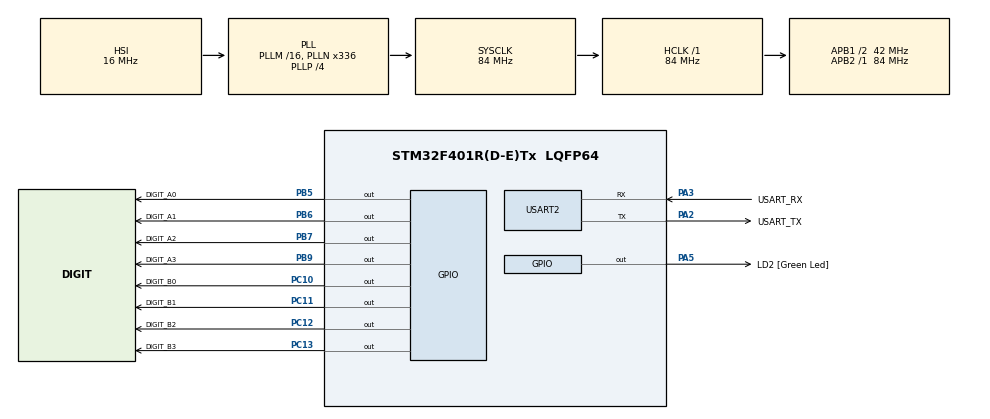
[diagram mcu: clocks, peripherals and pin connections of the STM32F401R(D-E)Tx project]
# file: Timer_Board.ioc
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Mcu.Family=STM32F4
Mcu.Name=STM32F401R(D-E)Tx
Mcu.Package=LQFP64
NVIC.PriorityGroup=NVIC_PRIORITYGROUP_0
PA13.GPIO_Label=TMS
PA13.Mode=Serial_Wire
PA13.Signal=SYS_JTMS-SWDIO
PA14.GPIO_Label=TCK
PA14.Mode=Serial_Wire
PA14.Signal=SYS_JTCK-SWCLK
PA2.GPIO_Label=USART_TX
PA2.GPIO_Mode=GPIO_MODE_AF_PP
PA2.GPIO_PuPd=GPIO_NOPULL
PA2.GPIO_Speed=GPIO_SPEED_FREQ_LOW
PA2.Mode=Asynchronous
PA2.Signal=USART2_TX
PA3.GPIO_Label=USART_RX
PA3.GPIO_Mode=GPIO_MODE_AF_PP
PA3.GPIO_PuPd=GPIO_NOPULL
PA3.GPIO_Speed=GPIO_SPEED_FREQ_LOW
PA3.Mode=Asynchronous
PA3.Signal=USART2_RX
PA5.GPIO_Label=LD2 [Green Led]
PA5.GPIO_Mode=GPIO_MODE_OUTPUT_PP
PA5.GPIO_PuPd=GPIO_NOPULL
PA5.GPIO_Speed=GPIO_SPEED_FREQ_LOW
PA5.Signal=GPIO_Output
PB3.GPIO_Label=SWO
PB3.Signal=SYS_JTDO-SWO
PB5.GPIO_Label=DIGIT_A0
PB5.Signal=GPIO_Output
PB6.GPIO_Label=DIGIT_A1
PB6.Signal=GPIO_Output
PB7.GPIO_Label=DIGIT_A2
PB7.Signal=GPIO_Output
PB9.GPIO_Label=DIGIT_A3
PB9.Signal=GPIO_Output
PC10.GPIO_Label=DIGIT_B0
PC10.Signal=GPIO_Output
PC11.GPIO_Label=DIGIT_B1
PC11.Signal=GPIO_Output
PC12.GPIO_Label=DIGIT_B2
PC12.Signal=GPIO_Output
PC13-ANTI_TAMP.GPIO_Label=DIGIT_B3
PC13-ANTI_TAMP.Signal=GPIO_Output
PC14-OSC32_IN.Mode=LSE-External-Oscillator
PC14-OSC32_IN.Signal=RCC_OSC32_IN
PC15-OSC32_OUT.Mode=LSE-External-Oscillator
PC15-OSC32_OUT.Signal=RCC_OSC32_OUT
PH0\ -\ OSC_IN.Mode=HSE-External-Clock-Source
PH0\ -\ OSC_IN.Signal=RCC_OSC_IN
PH1\ -\ OSC_OUT.Mode=HSE-External-Clock-Source
PH1\ -\ OSC_OUT.Signal=RCC_OSC_OUT
ProjectManager.HeapSize=0x200
ProjectManager.StackSize=0x400
ProjectManager.TargetToolchain=STM32CubeIDE
RCC.48MHZClocksFreq_Value=48000000
RCC.AHBFreq_Value=84000000
RCC.APB1CLKDivider=RCC_HCLK_DIV2
RCC.APB1Freq_Value=42000000
RCC.APB1TimFreq_Value=84000000
RCC.APB2Freq_Value=84000000
RCC.APB2TimFreq_Value=84000000
RCC.CortexFreq_Value=84000000
RCC.HCLKFreq_Value=84000000
RCC.HSE_VALUE=8000000
RCC.HSI_VALUE=16000000
RCC.PLLN=336
RCC.PLLP=RCC_PLLP_DIV4
RCC.PLLQ=7
RCC.SYSCLKFreq_VALUE=84000000
RCC.SYSCLKSource=RCC_SYSCLKSOURCE_PLLCLK
RCC.VCOOutputFreq_Value=336000000
USART2.VirtualMode=VM_ASYNC
board=NUCLEO-F401RE

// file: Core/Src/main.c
/* USER CODE BEGIN Header */
/**
  ******************************************************************************
  * @file           : main.c
  * @brief          : Main program body
  ******************************************************************************
  * @attention
  *
  * Copyright (c) 2024 STMicroelectronics.
  * All rights reserved.
  *
  * This software is licensed under terms that can be found in the LICENSE file
  * in the root directory of this software component.
  * If no LICENSE file comes with this software, it is provided AS-IS.
  *
  ******************************************************************************
  */
/* USER CODE END Header */
#include "main.h"

UART_HandleTypeDef huart2;

void SystemClock_Config(void);
static void MX_GPIO_Init(void);
static void MX_USART2_UART_Init(void);

/* USER CODE BEGIN 0 */
void DIGITS_Display(uint8_t DIGIT_A, uint8_t DIGIT_B)
{
	 uint8_t DIGITA_VAL = 0x0F & DIGIT_A; //mask off higher4 bits
	 int Abit0 = (DIGITA_VAL ) & 1;  	// extract Abit0 of the 4-bit value
	 int Abit1 = (DIGITA_VAL >> 1) & 1;  // extract Abit1 of the 4-bit value
	 int Abit2 = (DIGITA_VAL >> 2) & 1;  // extract Abit2 of the 4-bit value
	 int Abit3 = (DIGITA_VAL >> 3) & 1;  // extract Abit3 of the 4-bit value

	 uint8_t DIGITB_VAL = 0x0F & DIGIT_B; //mask off higher4 bits
	 int Bbit0 = (DIGITB_VAL ) & 1;  	// extract Bbit0 of the 4-bit value
	 int Bbit1 = (DIGITB_VAL >> 1) & 1;  // extract Bbit1 of the 4-bit value
	 int Bbit2 = (DIGITB_VAL >> 2) & 1;  // extract Bbit2 of the 4-bit value
	 int Bbit3 = (DIGITB_VAL >> 3) & 1;  // extract Bbit3 of the 4-bit value

	 if (Abit0 == (0))
	 {
		 HAL_GPIO_WritePin(GPIOB, DIGIT_A0_Pin, GPIO_PIN_RESET);
	 }
	 else
	 {
		 HAL_GPIO_WritePin(GPIOB, DIGIT_A0_Pin, GPIO_PIN_SET);

	 }
	 if (Abit1 == (0))
	 {
		 HAL_GPIO_WritePin(GPIOB, DIGIT_A1_Pin, GPIO_PIN_RESET);
	 }
	 else
	 {
		 HAL_GPIO_WritePin(GPIOB, DIGIT_A1_Pin, GPIO_PIN_SET);

	 }
	 if (Abit2 == (0))
	 {
		 HAL_GPIO_WritePin(GPIOB, DIGIT_A2_Pin, GPIO_PIN_RESET);
	 }
	 else
	 {
		 HAL_GPIO_WritePin(GPIOB, DIGIT_A2_Pin, GPIO_PIN_SET);

	 }
	 if (Abit3 == (0))
	 {
		 HAL_GPIO_WritePin(GPIOB, DIGIT_A3_Pin, GPIO_PIN_RESET);
	 }
	 else
	 {
		 HAL_GPIO_WritePin(GPIOB, DIGIT_A3_Pin, GPIO_PIN_SET);

	 }

	 if (Bbit0 == (0))
	 {
		 HAL_GPIO_WritePin(GPIOC, DIGIT_B0_Pin, GPIO_PIN_RESET);
	 }
	 else
	 {
		 HAL_GPIO_WritePin(GPIOC, DIGIT_B0_Pin, GPIO_PIN_SET);

	 }
	 if (Bbit1 == (0))
	 {
		 HAL_GPIO_WritePin(GPIOC, DIGIT_B1_Pin, GPIO_PIN_RESET);
	 }
	 else
	 {
		 HAL_GPIO_WritePin(GPIOC, DIGIT_B1_Pin, GPIO_PIN_SET);

	 }
	 if (Bbit2 == (0))
	 {
		 HAL_GPIO_WritePin(GPIOC, DIGIT_B2_Pin, GPIO_PIN_RESET);
	 }
	 else
	 {
		 HAL_GPIO_WritePin(GPIOC, DIGIT_B2_Pin, GPIO_PIN_SET);

	 }
	 if (Bbit3 == (0))
	 {
		 HAL_GPIO_WritePin(GPIOC, DIGIT_B3_Pin, GPIO_PIN_RESET);
	 }
	 else
	 {
		 HAL_GPIO_WritePin(GPIOC, DIGIT_B3_Pin, GPIO_PIN_SET);

	 }
}
/* USER CODE END 0 */

int main(void)
{

  /* USER CODE BEGIN 1 */
	uint8_t counter = 0;
  /* USER CODE END 1 */

  /* MCU Configuration--------------------------------------------------------*/

  /* Reset of all peripherals, Initializes the Flash interface and the Systick. */
  HAL_Init();

  /* Configure the system clock */
  SystemClock_Config();

  /* Initialize all configured peripherals */
  MX_GPIO_Init();
  MX_USART2_UART_Init();

  /* Infinite loop */
  while (1)
  {

    /* USER CODE BEGIN 3 */
	  ++counter;
	  counter = counter % 100;
	  uint8_t ones = counter % 10;
	  uint8_t tens = counter / 10;

	  DIGITS_Display(tens, ones);

//	  uint8_t mask = 1;
//	  if (mask & ones) {
//		  HAL_GPIO_WritePin(GPIOB, DIGIT_B0_Pin, GPIO_PIN_SET);
//	  } else {
//		  HAL_GPIO_WritePin(GPIOB, DIGIT_B0_Pin, GPIO_PIN_RESET);
//	  }
//
//	  if (mask & tens) {
//		  HAL_GPIO_WritePin(GPIOB, DIGIT_A0_Pin, GPIO_PIN_SET);
//	  } else {
//		  HAL_GPIO_WritePin(GPIOB, DIGIT_A0_Pin, GPIO_PIN_RESET);
//	  }
//
//	  if ((mask << 1) & ones) {
//		  HAL_GPIO_WritePin(GPIOB, DIGIT_B1_Pin, GPIO_PIN_SET);
//	  } else {
//		  HAL_GPIO_WritePin(GPIOB, DIGIT_B1_Pin, GPIO_PIN_RESET);
//	  }
//
//	  if ((mask << 1) & tens) {
//		  HAL_GPIO_WritePin(GPIOB, DIGIT_A1_Pin, GPIO_PIN_SET);
//	  } else {
//		  HAL_GPIO_WritePin(GPIOB, DIGIT_A1_Pin, GPIO_PIN_RESET);
//	  }
//
//	  if ((mask << 2) & ones) {
//		  HAL_GPIO_WritePin(GPIOB, DIGIT_B2_Pin, GPIO_PIN_SET);
//	  } else {
//		  HAL_GPIO_WritePin(GPIOB, DIGIT_B2_Pin, GPIO_PIN_RESET);
//	  }
//
//	  if ((mask << 2) & tens) {
//		  HAL_GPIO_WritePin(GPIOB, DIGIT_A2_Pin, GPIO_PIN_SET);
//	  } else {
//		  HAL_GPIO_WritePin(GPIOB, DIGIT_A2_Pin, GPIO_PIN_RESET);
//	  }
//
//	  if ((mask << 3) & ones) {
//		  HAL_GPIO_WritePin(GPIOB, DIGIT_B3_Pin, GPIO_PIN_SET);
//	  } else {
//		  HAL_GPIO_WritePin(GPIOB, DIGIT_B3_Pin, GPIO_PIN_RESET);
//	  }
//
//	  if ((mask << 3) & tens) {
//		  HAL_GPIO_WritePin(GPIOB, DIGIT_A3_Pin, GPIO_PIN_SET);
//	  } else {
//		  HAL_GPIO_WritePin(GPIOB, DIGIT_A3_Pin, GPIO_PIN_RESET);
//	  }

	  HAL_Delay(200);
  }
  /* USER CODE END 3 */
}

void SystemClock_Config(void)
{
  RCC_OscInitTypeDef RCC_OscInitStruct = {0};
  RCC_ClkInitTypeDef RCC_ClkInitStruct = {0};

  /** Configure the main internal regulator output voltage
  */
  __HAL_RCC_PWR_CLK_ENABLE();
  __HAL_PWR_VOLTAGESCALING_CONFIG(PWR_REGULATOR_VOLTAGE_SCALE2);

  /** Initializes the RCC Oscillators according to the specified parameters
  * in the RCC_OscInitTypeDef structure.
  */
  RCC_OscInitStruct.OscillatorType = RCC_OSCILLATORTYPE_HSI;
  RCC_OscInitStruct.HSIState = RCC_HSI_ON;
  RCC_OscInitStruct.HSICalibrationValue = RCC_HSICALIBRATION_DEFAULT;
  RCC_OscInitStruct.PLL.PLLState = RCC_PLL_ON;
  RCC_OscInitStruct.PLL.PLLSource = RCC_PLLSOURCE_HSI;
  RCC_OscInitStruct.PLL.PLLM = 16;
  RCC_OscInitStruct.PLL.PLLN = 336;
  RCC_OscInitStruct.PLL.PLLP = RCC_PLLP_DIV4;
  RCC_OscInitStruct.PLL.PLLQ = 7;
  if (HAL_RCC_OscConfig(&RCC_OscInitStruct) != HAL_OK)
  {
    Error_Handler();
  }

  /** Initializes the CPU, AHB and APB buses clocks
  */
  RCC_ClkInitStruct.ClockType = RCC_CLOCKTYPE_HCLK|RCC_CLOCKTYPE_SYSCLK
                              |RCC_CLOCKTYPE_PCLK1|RCC_CLOCKTYPE_PCLK2;
  RCC_ClkInitStruct.SYSCLKSource = RCC_SYSCLKSOURCE_PLLCLK;
  RCC_ClkInitStruct.AHBCLKDivider = RCC_SYSCLK_DIV1;
  RCC_ClkInitStruct.APB1CLKDivider = RCC_HCLK_DIV2;
  RCC_ClkInitStruct.APB2CLKDivider = RCC_HCLK_DIV1;

  if (HAL_RCC_ClockConfig(&RCC_ClkInitStruct, FLASH_LATENCY_2) != HAL_OK)
  {
    Error_Handler();
  }
}

static void MX_USART2_UART_Init(void)
{

  huart2.Instance = USART2;
  huart2.Init.BaudRate = 115200;
  huart2.Init.WordLength = UART_WORDLENGTH_8B;
  huart2.Init.StopBits = UART_STOPBITS_1;
  huart2.Init.Parity = UART_PARITY_NONE;
  huart2.Init.Mode = UART_MODE_TX_RX;
  huart2.Init.HwFlowCtl = UART_HWCONTROL_NONE;
  huart2.Init.OverSampling = UART_OVERSAMPLING_16;
  if (HAL_UART_Init(&huart2) != HAL_OK)
  {
    Error_Handler();
  }

}

static void MX_GPIO_Init(void)
{
  GPIO_InitTypeDef GPIO_InitStruct = {0};

  /* GPIO Ports Clock Enable */
  __HAL_RCC_GPIOC_CLK_ENABLE();
  __HAL_RCC_GPIOH_CLK_ENABLE();
  __HAL_RCC_GPIOA_CLK_ENABLE();
  __HAL_RCC_GPIOB_CLK_ENABLE();

  /*Configure GPIO pin Output Level */
  HAL_GPIO_WritePin(GPIOC, DIGIT_B3_Pin|DIGIT_B0_Pin|DIGIT_B1_Pin|DIGIT_B2_Pin, GPIO_PIN_RESET);

  /*Configure GPIO pin Output Level */
  HAL_GPIO_WritePin(LD2_GPIO_Port, LD2_Pin, GPIO_PIN_RESET);

  /*Configure GPIO pin Output Level */
  HAL_GPIO_WritePin(GPIOB, DIGIT_A0_Pin|DIGIT_A1_Pin|DIGIT_A2_Pin|DIGIT_A3_Pin, GPIO_PIN_RESET);

  /*Configure GPIO pins : DIGIT_B3_Pin DIGIT_B0_Pin DIGIT_B1_Pin DIGIT_B2_Pin */
  GPIO_InitStruct.Pin = DIGIT_B3_Pin|DIGIT_B0_Pin|DIGIT_B1_Pin|DIGIT_B2_Pin;
  GPIO_InitStruct.Mode = GPIO_MODE_OUTPUT_PP;
  GPIO_InitStruct.Pull = GPIO_NOPULL;
  GPIO_InitStruct.Speed = GPIO_SPEED_FREQ_LOW;
  HAL_GPIO_Init(GPIOC, &GPIO_InitStruct);

  /*Configure GPIO pin : LD2_Pin */
  GPIO_InitStruct.Pin = LD2_Pin;
  GPIO_InitStruct.Mode = GPIO_MODE_OUTPUT_PP;
  GPIO_InitStruct.Pull = GPIO_NOPULL;
  GPIO_InitStruct.Speed = GPIO_SPEED_FREQ_LOW;
  HAL_GPIO_Init(LD2_GPIO_Port, &GPIO_InitStruct);

  /*Configure GPIO pins : DIGIT_A0_Pin DIGIT_A1_Pin DIGIT_A2_Pin DIGIT_A3_Pin */
  GPIO_InitStruct.Pin = DIGIT_A0_Pin|DIGIT_A1_Pin|DIGIT_A2_Pin|DIGIT_A3_Pin;
  GPIO_InitStruct.Mode = GPIO_MODE_OUTPUT_PP;
  GPIO_InitStruct.Pull = GPIO_NOPULL;
  GPIO_InitStruct.Speed = GPIO_SPEED_FREQ_LOW;
  HAL_GPIO_Init(GPIOB, &GPIO_InitStruct);

}

void Error_Handler(void)
{
  __disable_irq();
  while (1)
  {
  }
}
